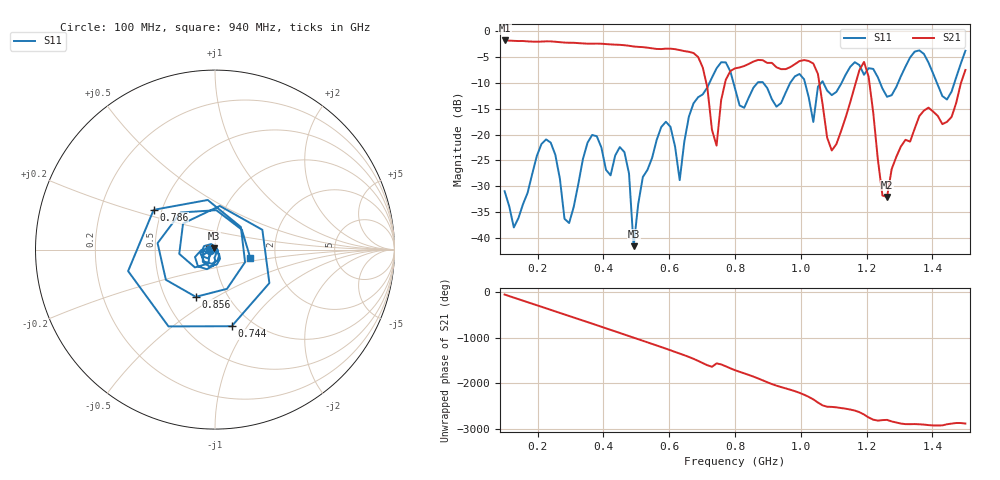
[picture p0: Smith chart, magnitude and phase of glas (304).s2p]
! NanoVNA-App
! Date: 2025-09-25 15:57:50
! Start: 100MHz Stop: 1,5GHz Points: 101
! S-Parameter data: F S11 S21 S12 S22
# Hz S RI R 50
!  Frequency  S11_Real  S11_Imag  S21_Real  S21_Imag  S12_Real  S12_Imag  S22_Real  S22_Imag
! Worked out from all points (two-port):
!   101 points, 100 MHz to 1.5 GHz, reference 50 ohm
!   highest |S21| = -1.80 dB at 100 MHz (marker M1); lowest = -32.0 dB at 1.262 GHz (marker M2)
!   |S21| within 3 dB of the highest: start of sweep to 684.4 MHz
!   lowest |S11| = -41.6 dB at 492 MHz (marker M3), VSWR 1.02, Z = 49.5 + j0.654 ohm
!   |S11| at or under -10 dB: start of sweep to 722.5 MHz; 795.4 MHz to 868.2 MHz (72.78 MHz wide, 8.75 % of centre); 885.9 MHz to 967.8 MHz (81.89 MHz wide, 8.84 % of centre) (the widest 3 of 7)
!   S12 and S22 are empty: the file has one direction only
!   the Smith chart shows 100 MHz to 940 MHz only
!   S11 on the Smith chart (normalised r, x): 100 MHz: 0.95, -0.01; 744 MHz: 0.81, -0.85; 786 MHz: 0.45, +0.24; 856 MHz: 0.71, -0.41; 940 MHz: 1.48, -0.14
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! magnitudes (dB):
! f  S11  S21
! 100 MHz  -30.9  -1.8
! 128 MHz  -37.9  -1.9
! 226 MHz  -20.9  -2.0
! 296 MHz  -37.1  -2.2
! 338 MHz  -24.7  -2.4
! 464 MHz  -23.4  -2.7
! 492 MHz  -41.6  -3.0
! 576 MHz  -18.5  -3.5
! 632 MHz  -28.8  -3.7
! 702 MHz  -12.2  -7.0
! 744 MHz  -7.2  -22.1
! 786 MHz  -7.8  -7.7
! 800 MHz  -11.1  -7.2
! 856 MHz  -10.9  -5.9
! 940 MHz  -13.9  -7.3
! 996 MHz  -8.3  -5.8
! 1.038 GHz  -17.6  -6.3
! 1.094 GHz  -12.4  -23.1
! 1.192 GHz  -8.4  -6.0
! 1.262 GHz  -12.7  -32.0
! 1.276 GHz  -12.4  -26.7
! 1.5 GHz  -3.8  -7.5
